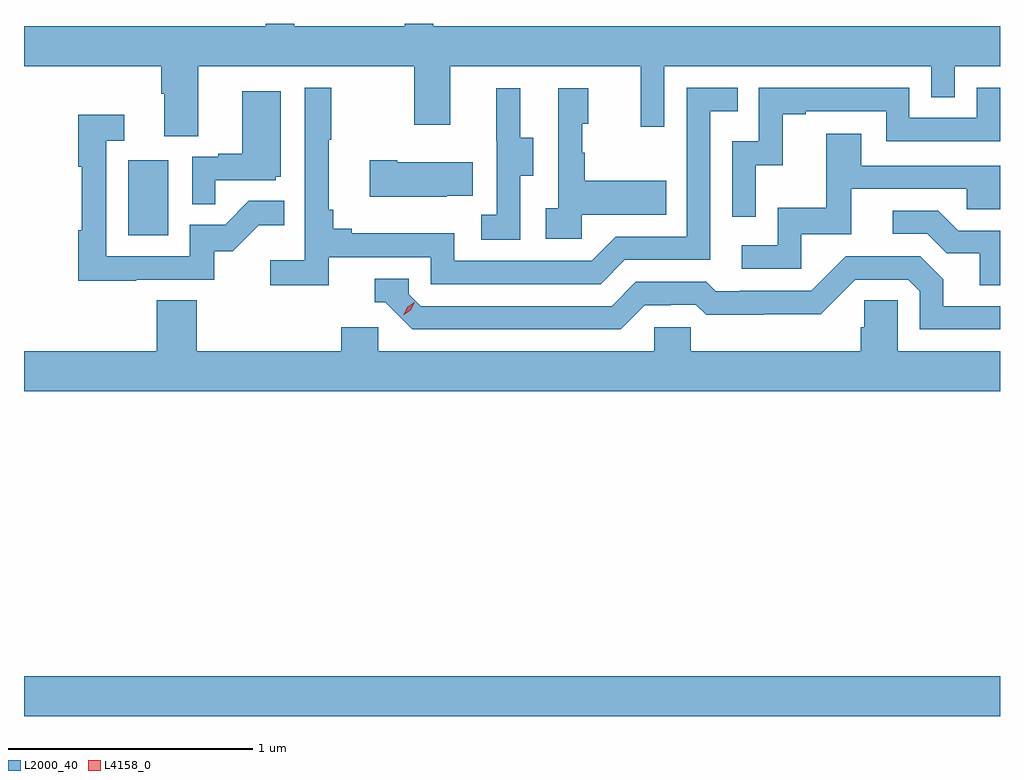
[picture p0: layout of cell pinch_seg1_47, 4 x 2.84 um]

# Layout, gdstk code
import gdstk
lib = gdstk.Library(unit=1e-6, precision=1e-09)
def R(c, l, rs):  # rectangles x0, y0, x1, y1
    for r in rs: c.add(gdstk.rectangle(r[:2], r[2:], *l))
def P(c, l, *ps):  # polygons
    for p in ps: c.add(gdstk.Polygon(p, *l))
L2000_40 = (2000, 40)
L4158_0 = (4158, 0)

pinch_seg1_47 = lib.new_cell('pinch_seg1_47')
R(pinch_seg1_47, L2000_40, [(1067.989,579.704,1071.989,579.868), (1068.416,581.676,1068.58,581.983)])
P(pinch_seg1_47, L2000_40, [(1068.703,582.368),(1069.588,582.368),(1069.588,582.129),(1069.735,582.129),(1069.735,582.368),(1070.516,582.368),(1070.516,582.12),(1070.613,582.12),(1070.613,582.368),(1071.708,582.368),(1071.708,582.241),(1071.804,582.241),(1071.804,582.368),(1071.989,582.368),(1071.989,582.532),(1069.667,582.532),(1069.667,582.542),(1069.55,582.542),(1069.55,582.532),(1069.097,582.532),(1069.097,582.542),(1068.979,582.542),(1068.979,582.532),(1067.989,582.532),(1067.989,582.368),(1068.551,582.368),(1068.551,582.256),(1068.563,582.256),(1068.563,582.082),(1068.703,582.082)],
  [(1069.238,581.586),(1069.656,581.586),(1069.656,581.475),(1070.353,581.475),(1070.452,581.574),(1070.802,581.574),(1070.802,582.183),(1070.915,582.183),(1070.915,582.279),(1070.706,582.279),(1070.706,581.67),(1070.415,581.67),(1070.316,581.571),(1069.752,581.571),(1069.752,581.683),(1069.333,581.683),(1069.333,581.702),(1069.256,581.702),(1069.256,581.779),(1069.237,581.779),(1069.237,582.067),(1069.249,582.067),(1069.249,582.28),(1069.14,582.28),(1069.14,581.572),(1068.999,581.572),(1068.999,581.47),(1069.238,581.47)],
  [(1070.988,581.963),(1071.098,581.963),(1071.098,582.171),(1071.193,582.171),(1071.193,582.183),(1071.522,582.183),(1071.522,582.06),(1071.989,582.06),(1071.989,582.279),(1071.894,582.279),(1071.894,582.156),(1071.618,582.156),(1071.618,582.279),(1071,582.279),(1071,582.06),(1070.892,582.06),(1070.892,581.751),(1070.988,581.751)],
  [(1070.022,581.92),(1070.077,581.92),(1070.077,582.075),(1070.023,582.075),(1070.023,582.277),(1069.925,582.277),(1069.925,582.063),(1069.926,582.063),(1069.926,581.759),(1069.863,581.759),(1069.863,581.656),(1070.022,581.656)],
  [(1070.274,581.759),(1070.621,581.759),(1070.621,581.899),(1070.287,581.899),(1070.287,582.014),(1070.277,582.014),(1070.277,582.132),(1070.302,582.132),(1070.302,582.277),(1070.178,582.277),(1070.178,581.786),(1070.127,581.786),(1070.127,581.661),(1070.274,581.661)],
  [(1068.773,581.901),(1069.02,581.901),(1069.02,581.916),(1069.042,581.916),(1069.042,582.265),(1068.884,582.265),(1068.884,582.01),(1068.785,582.01),(1068.785,581.997),(1068.678,581.997),(1068.678,581.803),(1068.773,581.803)],
  [(1068.449,581.493),(1068.768,581.493),(1068.768,581.61),(1068.844,581.61),(1068.951,581.717),(1069.055,581.717),(1069.055,581.816),(1068.911,581.816),(1068.813,581.718),(1068.669,581.718),(1068.669,581.589),(1068.327,581.589),(1068.327,582.063),(1068.4,582.063),(1068.4,582.169),(1068.211,582.169),(1068.211,581.956),(1068.226,581.956),(1068.226,581.696),(1068.211,581.696),(1068.211,581.488),(1068.449,581.488)],
  [(1071.174,581.679),(1071.379,581.679),(1071.379,581.865),(1071.853,581.865),(1071.853,581.781),(1071.989,581.781),(1071.989,581.961),(1071.421,581.961),(1071.421,582.091),(1071.277,582.091),(1071.277,581.788),(1071.078,581.788),(1071.078,581.634),(1070.931,581.634),(1070.931,581.538),(1071.174,581.538)],
  [(1069.721,581.837),(1069.829,581.837),(1069.829,581.974),(1069.519,581.974),(1069.519,581.982),(1069.407,581.982),(1069.407,581.834),(1069.721,581.834)],
  [(1071.989,581.694),(1071.817,581.694),(1071.736,581.775),(1071.549,581.775),(1071.549,581.682),(1071.69,581.682),(1071.77,581.602),(1071.905,581.602),(1071.905,581.47),(1071.989,581.47)],
  [(1070.533,581.388),(1070.64,581.388),(1070.64,581.391),(1070.743,581.391),(1070.785,581.349),(1071.018,581.349),(1071.018,581.351),(1071.254,581.351),(1071.396,581.493),(1071.612,581.493),(1071.66,581.445),(1071.66,581.289),(1071.989,581.289),(1071.989,581.385),(1071.757,581.385),(1071.757,581.495),(1071.663,581.589),(1071.357,581.589),(1071.216,581.448),(1070.923,581.448),(1070.923,581.445),(1070.824,581.445),(1070.785,581.484),(1070.496,581.484),(1070.397,581.385),(1069.614,581.385),(1069.566,581.433),(1069.566,581.496),(1069.427,581.496),(1069.427,581.4),(1069.47,581.4),(1069.581,581.289),(1070.434,581.289)],
  [(1071.989,581.2),(1071.57,581.2),(1071.57,581.408),(1071.433,581.408),(1071.433,581.298),(1071.419,581.298),(1071.419,581.2),(1070.721,581.2),(1070.721,581.298),(1070.571,581.298),(1070.571,581.2),(1069.44,581.2),(1069.44,581.298),(1069.289,581.298),(1069.289,581.2),(1068.698,581.2),(1068.698,581.408),(1068.533,581.408),(1068.533,581.2),(1067.989,581.2),(1067.989,581.036),(1071.989,581.036)])
P(pinch_seg1_47, L4158_0, [(1069.543,581.347),(1069.543,581.347),(1069.559,581.38),(1069.589,581.4),(1069.589,581.4),(1069.589,581.399),(1069.574,581.367),(1069.544,581.347)])

lib.write_gds('pinch_seg1_47.gds')
